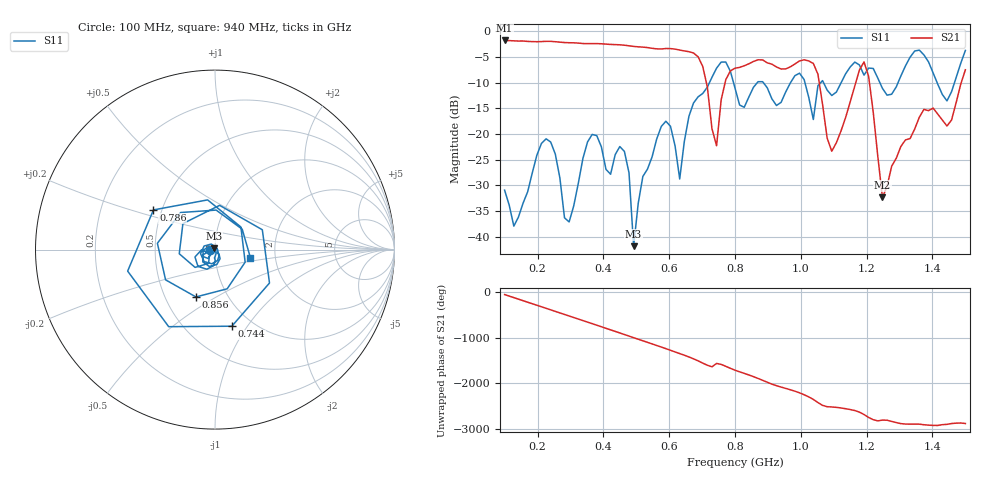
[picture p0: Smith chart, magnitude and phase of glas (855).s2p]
! NanoVNA-App
! Date: 2025-09-25 16:02:08
! Start: 100MHz Stop: 1,5GHz Points: 101
! S-Parameter data: F S11 S21 S12 S22
# Hz S RI R 50
!  Frequency  S11_Real  S11_Imag  S21_Real  S21_Imag  S12_Real  S12_Imag  S22_Real  S22_Imag
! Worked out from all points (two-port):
!   101 points, 100 MHz to 1.5 GHz, reference 50 ohm
!   highest |S21| = -1.80 dB at 100 MHz (marker M1); lowest = -32.3 dB at 1.248 GHz (marker M2)
!   |S21| within 3 dB of the highest: start of sweep to 684.5 MHz
!   lowest |S11| = -41.8 dB at 492 MHz (marker M3), VSWR 1.02, Z = 49.5 + j0.612 ohm
!   |S11| at or under -10 dB: start of sweep to 722.4 MHz; 795.5 MHz to 867.7 MHz (72.24 MHz wide, 8.69 % of centre); 886.1 MHz to 968.8 MHz (82.67 MHz wide, 8.91 % of centre) (the widest 3 of 7)
!   S12 and S22 are empty: the file has one direction only
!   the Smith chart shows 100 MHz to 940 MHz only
!   S11 on the Smith chart (normalised r, x): 100 MHz: 0.94, -0.01; 744 MHz: 0.81, -0.85; 786 MHz: 0.45, +0.24; 856 MHz: 0.71, -0.41; 940 MHz: 1.48, -0.14
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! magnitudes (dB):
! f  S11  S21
! 100 MHz  -30.9  -1.8
! 128 MHz  -37.9  -1.9
! 226 MHz  -20.9  -2.0
! 296 MHz  -37.1  -2.2
! 338 MHz  -24.7  -2.4
! 464 MHz  -23.4  -2.7
! 492 MHz  -41.8  -3.0
! 576 MHz  -18.5  -3.5
! 632 MHz  -28.7  -3.7
! 702 MHz  -12.1  -6.9
! 744 MHz  -7.2  -22.3
! 786 MHz  -7.8  -7.7
! 800 MHz  -11.1  -7.2
! 856 MHz  -10.9  -5.9
! 940 MHz  -13.8  -7.4
! 1.038 GHz  -17.2  -6.3
! 1.094 GHz  -12.5  -23.3
! 1.192 GHz  -8.6  -6.0
! 1.248 GHz  -11.1  -32.3
! 1.276 GHz  -12.3  -26.3
! 1.444 GHz  -13.6  -18.4
! 1.5 GHz  -3.7  -7.5
